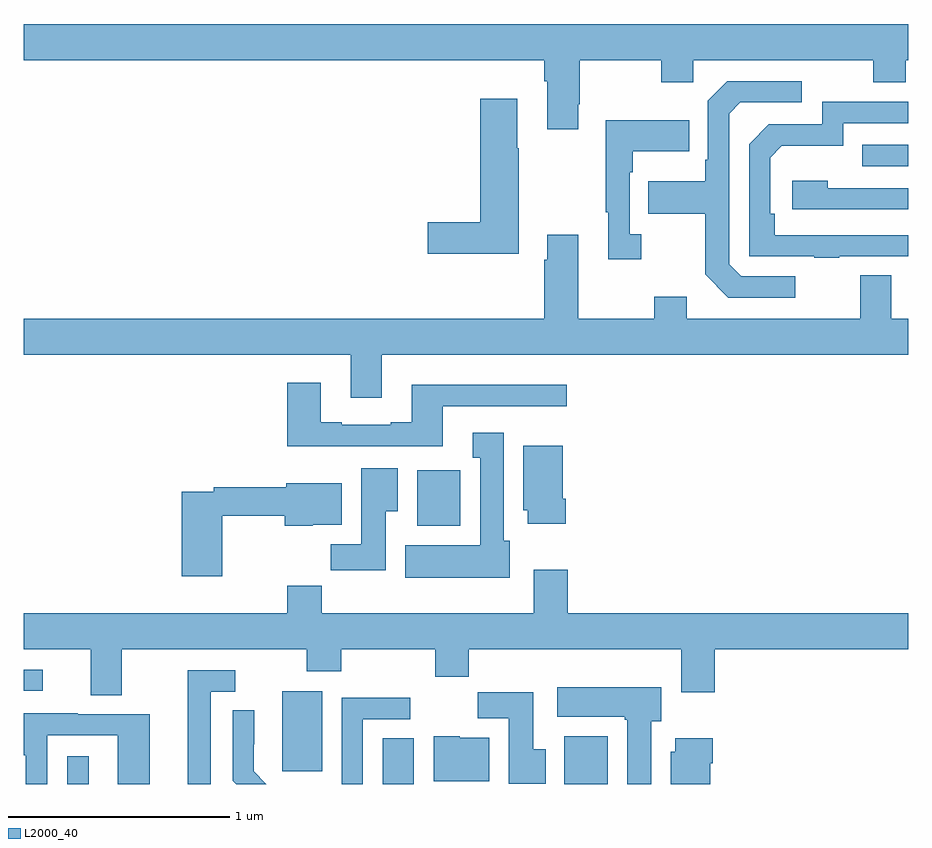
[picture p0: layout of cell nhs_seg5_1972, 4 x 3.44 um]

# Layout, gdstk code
import gdstk
lib = gdstk.Library(unit=1e-6, precision=1e-09)
def R(c, l, rs):  # rectangles x0, y0, x1, y1
    for r in rs: c.add(gdstk.rectangle(r[:2], r[2:], *l))
def P(c, l, *ps):  # polygons
    for p in ps: c.add(gdstk.Polygon(p, *l))
L2000_40 = (2000, 40)

nhs_seg5_1972 = lib.new_cell('nhs_seg5_1972')
R(nhs_seg5_1972, L2000_40, [(227.196,874.799,227.293,874.924), (228.623,874.799,228.763,875.006), (229.445,874.799,229.641,875.014), (228.17,874.857,228.349,875.218), (227,875.22,227.086,875.316), (228.779,875.966,228.975,876.217), (230.791,877.593,231,877.689)])
P(nhs_seg5_1972, L2000_40, [(229.507,877.873),(229.515,877.873),(229.515,878.072),(229.882,878.072),(229.882,877.973),(230.028,877.973),(230.028,878.072),(230.842,878.072),(230.842,877.973),(230.989,877.973),(230.989,878.072),(231,878.072),(231,878.236),(227,878.236),(227,878.072),(229.355,878.072),(229.355,877.976),(229.367,877.976),(229.367,877.761),(229.507,877.761)],
  [(230.488,877.095),(230.244,877.095),(230.19,877.149),(230.19,877.83),(230.241,877.881),(230.518,877.881),(230.518,877.977),(230.181,877.977),(230.094,877.89),(230.094,877.621),(230.082,877.621),(230.082,877.525),(229.825,877.525),(229.825,877.378),(230.082,877.378),(230.082,877.105),(230.187,876.999),(230.488,876.999)],
  [(229.239,877.673),(229.231,877.673),(229.231,877.897),(229.064,877.897),(229.064,877.34),(228.828,877.34),(228.828,877.198),(229.239,877.198)],
  [(230.687,877.185),(231,877.185),(231,877.281),(230.396,877.281),(230.396,877.378),(230.376,877.378),(230.376,877.632),(230.429,877.685),(230.706,877.685),(230.706,877.788),(231,877.788),(231,877.884),(230.61,877.884),(230.61,877.782),(230.37,877.782),(230.28,877.692),(230.28,877.185),(230.575,877.185),(230.575,877.18),(230.687,877.18)],
  [(229.792,877.286),(229.74,877.286),(229.74,877.565),(229.753,877.565),(229.753,877.661),(230.009,877.661),(230.009,877.801),(229.632,877.801),(229.632,877.385),(229.643,877.385),(229.643,877.173),(229.792,877.173)],
  [(231,877.494),(230.636,877.494),(230.636,877.528),(230.475,877.528),(230.475,877.398),(231,877.398)],
  [(228.619,876.74),(231,876.74),(231,876.904),(230.923,876.904),(230.923,877.099),(230.783,877.099),(230.783,876.904),(229.999,876.904),(229.999,877.003),(229.852,877.003),(229.852,876.904),(229.507,876.904),(229.507,877.282),(229.367,877.282),(229.367,877.169),(229.355,877.169),(229.355,876.904),(227,876.904),(227,876.74),(228.479,876.74),(228.479,876.546),(228.619,876.546)],
  [(228.431,876.327),(228.895,876.327),(228.895,876.507),(229.456,876.507),(229.456,876.604),(228.755,876.604),(228.755,876.436),(228.659,876.436),(228.659,876.423),(228.439,876.423),(228.439,876.436),(228.343,876.436),(228.343,876.613),(228.191,876.613),(228.191,876.326),(228.431,876.326)],
  [(229.198,875.898),(229.171,875.898),(229.171,876.388),(229.031,876.388),(229.031,876.275),(229.064,876.275),(229.064,875.878),(228.725,875.878),(228.725,875.732),(229.198,875.732)],
  [(229.451,876.088),(229.438,876.088),(229.438,876.328),(229.259,876.328),(229.259,876.036),(229.28,876.036),(229.28,875.976),(229.451,875.976)],
  [(228.637,876.032),(228.691,876.032),(228.691,876.226),(228.527,876.226),(228.527,875.884),(228.388,875.884),(228.388,875.766),(228.637,875.766)],
  [(227.897,876.012),(228.181,876.012),(228.181,875.966),(228.306,875.966),(228.306,875.972),(228.439,875.972),(228.439,876.16),(228.188,876.16),(228.188,876.14),(227.86,876.14),(227.86,876.12),(227.714,876.12),(227.714,875.739),(227.897,875.739)],
  [(227.443,875.408),(228.28,875.408),(228.28,875.309),(228.435,875.309),(228.435,875.408),(228.862,875.408),(228.862,875.284),(229.013,875.284),(229.013,875.408),(229.973,875.408),(229.973,875.214),(230.126,875.214),(230.126,875.408),(231,875.408),(231,875.572),(229.46,875.572),(229.46,875.767),(229.307,875.767),(229.307,875.572),(228.347,875.572),(228.347,875.696),(228.191,875.696),(228.191,875.572),(227,875.572),(227,875.408),(227.303,875.408),(227.303,875.2),(227.443,875.2)],
  [(227.845,875.217),(227.956,875.217),(227.956,875.313),(227.741,875.313),(227.741,874.799),(227.845,874.799)],
  [(229.837,875.082),(229.882,875.082),(229.882,875.236),(229.413,875.236),(229.413,875.102),(229.717,875.102),(229.717,875.089),(229.73,875.089),(229.73,874.799),(229.837,874.799)],
  [(229.36,874.956),(229.303,874.956),(229.303,875.215),(229.054,875.215),(229.054,875.096),(229.193,875.096),(229.193,874.8),(229.36,874.8)],
  [(228.534,875.091),(228.748,875.091),(228.748,875.19),(228.438,875.19),(228.438,874.799),(228.534,874.799)],
  [(228.041,874.856),(228.041,874.978),(228.042,874.978),(228.042,875.132),(227.946,875.132),(227.946,874.814),(227.961,874.799),(228.097,874.799)],
  [(227.106,875.019),(227.424,875.019),(227.424,874.799),(227.569,874.799),(227.569,875.115),(227.245,875.115),(227.245,875.119),(227,875.119),(227,874.929),(227.01,874.929),(227.01,874.799),(227.106,874.799)],
  [(229.105,875.008),(228.972,875.008),(228.972,875.014),(228.854,875.014),(228.854,874.811),(229.105,874.811)],
  [(230.104,874.892),(230.117,874.892),(230.117,875.005),(229.946,875.005),(229.946,874.944),(229.925,874.944),(229.925,874.799),(230.104,874.799)])

lib.write_gds('nhs_seg5_1972.gds')
